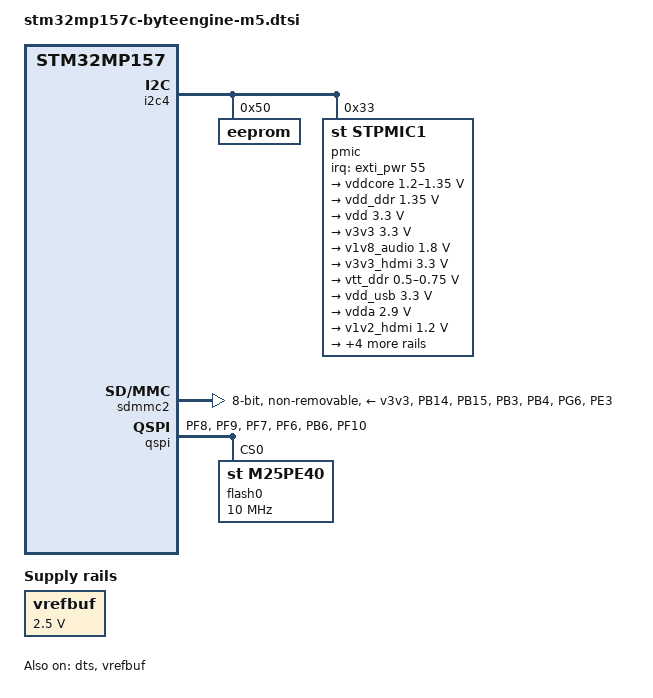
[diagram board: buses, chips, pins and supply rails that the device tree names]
// SPDX-License-Identifier: GPL-2.0
/*
 *  Copyright (C) 2019 bytes at work AG - http://www.bytesatwork.ch
 */

#include "stm32mp157c.dtsi"
#include "stm32mp157cac-pinctrl.dtsi"
#include "stm32mp157c-m4-srm.dtsi"
#include <dt-bindings/mfd/st,stpmic1.h>
#include <dt-bindings/gpio/gpio.h>
#include <dt-bindings/rtc/rtc-stm32.h>

/ {
	compatible = "batw,m5", "st,stm32mp157";

	reserved-memory {
		#address-cells = <1>;
		#size-cells = <1>;
		ranges;

		retram: retram@0x38000000 {
			compatible = "shared-dma-pool";
			reg = <0x38000000 0x10000>;
			no-map;
		};

		mcuram: mcuram@0x30000000 {
			compatible = "shared-dma-pool";
			reg = <0x30000000 0x40000>;
			no-map;
		};

		mcuram2: mcuram2@0x10000000 {
			compatible = "shared-dma-pool";
			reg = <0x10000000 0x40000>;
			no-map;
		};

		vdev0vring0: vdev0vring0@10040000 {
			compatible = "shared-dma-pool";
			reg = <0x10040000 0x2000>;
			no-map;
		};

		vdev0vring1: vdev0vring1@10042000 {
			compatible = "shared-dma-pool";
			reg = <0x10042000 0x2000>;
			no-map;
		};

		vdev0buffer: vdev0buffer@10044000 {
			compatible = "shared-dma-pool";
			reg = <0x10044000 0x4000>;
			no-map;
		};

		gpu_reserved: gpu@dc000000 {
			reg = <0xdc000000 0x4000000>;
			no-map;
		};
	};

	sram: sram@10050000 {
		compatible = "mmio-sram";
		reg = <0x10050000 0x10000>;
		#address-cells = <1>;
		#size-cells = <1>;
		ranges = <0 0x10050000 0x10000>;

		dma_pool: dma_pool@0 {
			reg = <0x0 0x10000>;
			pool;
		};
	};
};

&pinctrl {
	sdmmc2_pins: sdmmc2-b4-0 {
		pins1 {
			pinmux = <STM32_PINMUX('B', 14, AF9)>, /* SDMMC2_D0 */
				 <STM32_PINMUX('B', 15, AF9)>, /* SDMMC2_D1 */
				 <STM32_PINMUX('B', 3, AF9)>, /* SDMMC2_D2 */
				 <STM32_PINMUX('B', 4, AF9)>, /* SDMMC2_D3 */
				 <STM32_PINMUX('G', 6, AF10)>; /* SDMMC2_CMD */
			slew-rate = <1>;
			drive-push-pull;
			bias-pull-up;
		};

		pins2 {
			pinmux = <STM32_PINMUX('E', 3, AF9)>; /* SDMMC2_CK */
			slew-rate = <2>;
			drive-push-pull;
			bias-pull-up;
		};
	};

	sdmmc2_od_pins: sdmmc2-b4-od-0 {
		pins1 {
			pinmux = <STM32_PINMUX('B', 14, AF9)>, /* SDMMC2_D0 */
				 <STM32_PINMUX('B', 15, AF9)>, /* SDMMC2_D1 */
				 <STM32_PINMUX('B', 3, AF9)>, /* SDMMC2_D2 */
				 <STM32_PINMUX('B', 4, AF9)>; /* SDMMC2_D3 */
			slew-rate = <1>;
			drive-push-pull;
			bias-pull-up;
		};

		pins2 {
			pinmux = <STM32_PINMUX('E', 3, AF9)>; /* SDMMC2_CK */
			slew-rate = <2>;
			drive-push-pull;
			bias-pull-up;
		};

		pins3 {
			pinmux = <STM32_PINMUX('G', 6, AF10)>; /* SDMMC2_CMD */
			slew-rate = <1>;
			drive-open-drain;
			bias-pull-up;
		};
	};

	sdmmc2_sleep_pins: sdmmc2-b4-sleep-0 {
		pins {
			pinmux = <STM32_PINMUX('B', 14, ANALOG)>, /* SDMMC2_D0 */
				 <STM32_PINMUX('B', 15, ANALOG)>, /* SDMMC2_D1 */
				 <STM32_PINMUX('B', 3, ANALOG)>, /* SDMMC2_D2 */
				 <STM32_PINMUX('B', 4, ANALOG)>, /* SDMMC2_D3 */
				 <STM32_PINMUX('E', 3, ANALOG)>, /* SDMMC2_CK */
				 <STM32_PINMUX('G', 6, ANALOG)>; /* SDMMC2_CMD */
		};
	};

	qspi_pins: qspi-bk1-0 {
		pins1 {
			pinmux = <STM32_PINMUX('F', 8, AF10)>, /* QSPI_BK1_IO0 */
				 <STM32_PINMUX('F', 9, AF10)>, /* QSPI_BK1_IO1 */
				 <STM32_PINMUX('F', 7, AF9)>, /* QSPI_BK1_IO2 */
				 <STM32_PINMUX('F', 6, AF9)>; /* QSPI_BK1_IO3 */
			bias-disable;
			drive-push-pull;
			slew-rate = <1>;
		};

		pins2 {
			pinmux = <STM32_PINMUX('B', 6, AF10)>; /* QSPI_BK1_NCS */
			bias-pull-up;
			drive-push-pull;
			slew-rate = <1>;
		};

		pins3 {
			pinmux = <STM32_PINMUX('F', 10, AF9)>; /* QSPI_CLK */
			bias-disable;
			drive-push-pull;
			slew-rate = <3>;
		};
	};

	qspi_sleep_pins: qspi-bk1-sleep-0 {
		pins {
			pinmux = <STM32_PINMUX('F', 8, ANALOG)>, /* QSPI_BK1_IO0 */
				 <STM32_PINMUX('F', 9, ANALOG)>, /* QSPI_BK1_IO1 */
				 <STM32_PINMUX('F', 7, ANALOG)>, /* QSPI_BK1_IO2 */
				 <STM32_PINMUX('F', 6, ANALOG)>, /* QSPI_BK1_IO3 */
				 <STM32_PINMUX('B', 6, ANALOG)>, /* QSPI_BK1_NCS */
				 <STM32_PINMUX('F', 10, ANALOG)>; /* QSPI_CLK */
		};
	};
};

&pinctrl_z {
	i2c4_pins: i2c4-0 {
		pins {
			pinmux = <STM32_PINMUX('Z', 4, AF6)>, /* I2C4_SCL */
				 <STM32_PINMUX('Z', 5, AF6)>; /* I2C4_SDA */
			bias-disable;
			drive-open-drain;
			slew-rate = <0>;
		};
	};

	i2c4_pins_sleep: i2c4-1 {
		pins {
			pinmux = <STM32_PINMUX('Z', 4, ANALOG)>, /* I2C4_SCL */
				 <STM32_PINMUX('Z', 5, ANALOG)>; /* I2C4_SDA */
		};
	};
};

/* PMIC and bytesatwork configuration EEPROM */
&i2c4 {
	pinctrl-names = "default", "sleep";
	pinctrl-0 = <&i2c4_pins>;
	pinctrl-1 = <&i2c4_pins_sleep>;
	i2c-scl-rising-time-ns = <185>;
	i2c-scl-falling-time-ns = <20>;
	status = "okay";
	/delete-property/dmas;
	/delete-property/dma-names;

	eeprom: eeprom@50 {
		reg = <0x50>;
	};

	pmic: stpmic@33 {
		compatible = "st,stpmic1";
		reg = <0x33>;
		interrupts-extended = <&exti_pwr 55 IRQ_TYPE_EDGE_FALLING>;
		interrupt-controller;
		#interrupt-cells = <2>;

		st,main-control-register = <0x04>;
		st,vin-control-register = <0xc0>;
		st,usb-control-register = <0x20>;

		regulators {
			compatible = "st,stpmic1-regulators";

			ldo1-supply = <&v3v3>;
			ldo3-supply = <&vdd_ddr>;
			ldo6-supply = <&v3v3>;
			pwr_sw1-supply = <&bst_out>;
			pwr_sw2-supply = <&bst_out>;

			vddcore: buck1 {
				regulator-name = "vddcore";
				regulator-min-microvolt = <1200000>;
				regulator-max-microvolt = <1350000>;
				regulator-always-on;
				regulator-initial-mode = <0>;
				regulator-over-current-protection;
			};

			vdd_ddr: buck2 {
				regulator-name = "vdd_ddr";
				regulator-min-microvolt = <1350000>;
				regulator-max-microvolt = <1350000>;
				regulator-always-on;
				regulator-initial-mode = <0>;
				regulator-over-current-protection;
			};

			vdd: buck3 {
				regulator-name = "vdd";
				regulator-min-microvolt = <3300000>;
				regulator-max-microvolt = <3300000>;
				regulator-always-on;
				st,mask-reset;
				regulator-initial-mode = <0>;
				regulator-over-current-protection;
			};

			v3v3: buck4 {
				regulator-name = "v3v3";
				regulator-min-microvolt = <3300000>;
				regulator-max-microvolt = <3300000>;
				regulator-always-on;
				regulator-over-current-protection;
				regulator-initial-mode = <0>;
			};

			v1v8_audio: ldo1 {
				regulator-name = "v1v8_audio";
				regulator-min-microvolt = <1800000>;
				regulator-max-microvolt = <1800000>;
				regulator-always-on;
				interrupts = <IT_CURLIM_LDO1 0>;
			};

			v3v3_hdmi: ldo2 {
				regulator-name = "v3v3_hdmi";
				regulator-min-microvolt = <3300000>;
				regulator-max-microvolt = <3300000>;
				regulator-always-on;
				interrupts = <IT_CURLIM_LDO2 0>;
			};

			vtt_ddr: ldo3 {
				regulator-name = "vtt_ddr";
				regulator-min-microvolt = <500000>;
				regulator-max-microvolt = <750000>;
				regulator-always-on;
				regulator-over-current-protection;
			};

			vdd_usb: ldo4 {
				regulator-name = "vdd_usb";
				regulator-min-microvolt = <3300000>;
				regulator-max-microvolt = <3300000>;
				interrupts = <IT_CURLIM_LDO4 0>;
			};

			vdda: ldo5 {
				regulator-name = "vdda";
				regulator-min-microvolt = <2900000>;
				regulator-max-microvolt = <2900000>;
				interrupts = <IT_CURLIM_LDO5 0>;
				regulator-boot-on;
			};

			v1v2_hdmi: ldo6 {
				regulator-name = "v1v2_hdmi";
				regulator-min-microvolt = <1200000>;
				regulator-max-microvolt = <1200000>;
				regulator-always-on;
				interrupts = <IT_CURLIM_LDO6 0>;
			};

			vref_ddr: vref_ddr {
				regulator-name = "vref_ddr";
				regulator-always-on;
				regulator-over-current-protection;
			};

			bst_out: boost {
				regulator-name = "bst_out";
				interrupts = <IT_OCP_BOOST 0>;
			};

			vbus_otg: pwr_sw1 {
				regulator-name = "vbus_otg";
				interrupts = <IT_OCP_OTG 0>;
				regulator-active-discharge;
			};

			vbus_sw: pwr_sw2 {
				regulator-name = "vbus_sw";
				interrupts = <IT_OCP_SWOUT 0>;
				regulator-active-discharge;
			};
		};

		onkey: onkey {
			compatible = "st,stpmic1-onkey";
			interrupts = <IT_PONKEY_F 0>, <IT_PONKEY_R 1>;
			interrupt-names = "onkey-falling", "onkey-rising";
			status = "disabled";
		};

		pmic_watchdog: pmic-watchdog {
			compatible = "st,stpmic1-wdt";
			status = "disabled";
		};
	};
};

/* eMMC */
&sdmmc2 {
	pinctrl-names = "default", "opendrain", "sleep";
	pinctrl-0 = <&sdmmc2_pins>;
	pinctrl-1 = <&sdmmc2_od_pins>;
	pinctrl-2 = <&sdmmc2_sleep_pins>;
	non-removable;
	no-sd;
	no-sdio;
	st,neg-edge;
	bus-width = <8>;
	vmmc-supply = <&v3v3>;
	vqmmc-supply = <&v3v3>;
	mmc-ddr-3_3v;
	status = "okay";
};

/* NOR Flash */
&qspi {
	pinctrl-names = "default", "sleep";
	pinctrl-0 = <&qspi_pins>;
	pinctrl-1 = <&qspi_sleep_pins>;
	#address-cells = <1>;
	#size-cells = <0>;
	status = "okay";

	flash0: w25n01g@0 {
		compatible = "st,m25pe40", "jedec,spi-nor";
		reg = <0>;
		spi-rx-bus-width = <2>;
		spi-max-frequency = <10000000>;
		#address-cells = <1>;
		#size-cells = <1>;
	};
};

&dma1 {
	sram = <&dma_pool>;
};

&dma2 {
	sram = <&dma_pool>;
};

/* Thermal Sensor */
&dts {
	status = "okay";
};

&m4_rproc {
	memory-region = <&retram>, <&mcuram>, <&mcuram2>, <&vdev0vring0>,
			<&vdev0vring1>, <&vdev0buffer>;
	mboxes = <&ipcc 0>, <&ipcc 1>, <&ipcc 2>;
	mbox-names = "vq0", "vq1", "shutdown";
	interrupt-parent = <&exti>;
	interrupts = <68 1>;
	interrupt-names = "wdg";
	recovery;
	status = "disabled";
};

&pwr {
	pwr-supply = <&vdd>;
};

&vrefbuf {
	regulator-min-microvolt = <2500000>;
	regulator-max-microvolt = <2500000>;
	vdda-supply = <&vdd>;
	status = "okay";
};
